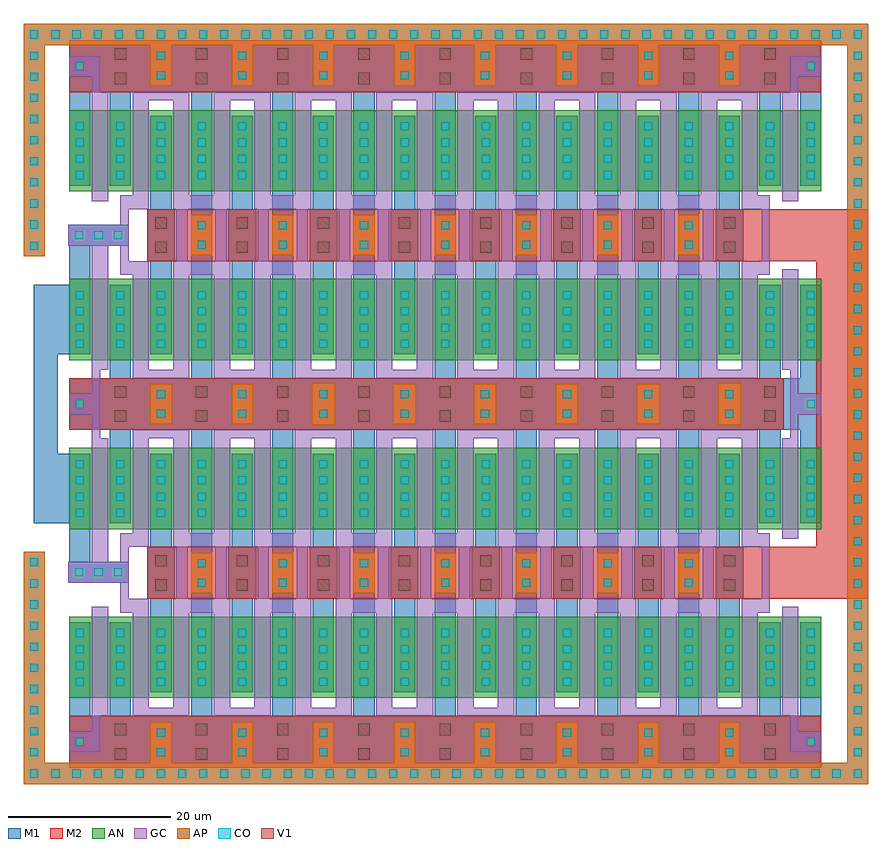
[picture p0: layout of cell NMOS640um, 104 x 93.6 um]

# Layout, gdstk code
import gdstk
lib = gdstk.Library(unit=1e-6, precision=1e-09)
def R(c, l, rs):  # rectangles x0, y0, x1, y1
    for r in rs: c.add(gdstk.rectangle(r[:2], r[2:], *l))
def A(c, l, x, y, w, h, nx, ny, dx, dy):  # array of equal rectangles
    R(c, l, [(x+i*dx, y+j*dy, x+i*dx+w, y+j*dy+h) for i in range(nx) for j in range(ny)])
AP = (3, 1)
AN = (3, 2)
GC = (8, 1)
CO = (11, 0)
M1 = (13, 0)
V1 = (19, 0)
M2 = (20, 0)

via_1_4 = lib.new_cell('via_1$4')
R(via_1_4, M1, [(-1.7,-1.7,1.7,1.7)])
R(via_1_4, V1, [(-0.7,-0.7,0.7,0.7)])
R(via_1_4, M2, [(-1.7,-1.7,1.7,1.7)])

cont_p = lib.new_cell('cont_p')
R(cont_p, AP, [(-1.3,-1.3,1.3,1.3)])
R(cont_p, CO, [(-0.5,-0.5,0.5,0.5)])
R(cont_p, M1, [(-1.3,-1.3,1.3,1.3)])

via_1_1 = lib.new_cell('via_1$1')
R(via_1_1, M1, [(-1.7,-1.7,1.7,1.7)])
R(via_1_1, V1, [(-0.7,-0.7,0.7,0.7)])
R(via_1_1, M2, [(-1.7,-1.7,1.7,1.7)])

fet_n_3 = lib.new_cell('fet_n$3')
R(fet_n_3, AN, [(-3.8,-5,3.8,5)])
A(fet_n_3, CO, -3, -3.5, 1, 1, 1, 4, 0, 2)
A(fet_n_3, CO, 2, -3.5, 1, 1, 1, 4, 0, 2)
R(fet_n_3, M1, [(-3.8,-4.3,-1.2,4.3), (1.2,-4.3,3.8,4.3)])
fet_n_3.add(gdstk.FlexPath([(0,-6.2),(0,6.2)], 2, ends="flush", simple_path=True, layer=8, datatype=1))  # GC

fet_n = lib.new_cell('fet_n')
R(fet_n, AN, [(-41.3,-5,41.3,5)])
A(fet_n, CO, -40.5, -3.5, 1, 1, 17, 4, 5, 2)
A(fet_n, M1, -41.3, -4.3, 2.6, 8.6, 17, 1, 5, 0)
fet_n.add(gdstk.FlexPath([(2.5,-6.2),(2.5,6.2)], 2, ends="flush", simple_path=True, layer=8, datatype=1))  # GC
fet_n.add(gdstk.FlexPath([(-2.5,-6.2),(-2.5,6.2)], 2, ends="flush", simple_path=True, layer=8, datatype=1))  # GC
fet_n.add(gdstk.FlexPath([(7.5,-6.2),(7.5,6.2)], 2, ends="flush", simple_path=True, layer=8, datatype=1))  # GC
fet_n.add(gdstk.FlexPath([(-7.5,-6.2),(-7.5,6.2)], 2, ends="flush", simple_path=True, layer=8, datatype=1))  # GC
fet_n.add(gdstk.FlexPath([(12.5,-6.2),(12.5,6.2)], 2, ends="flush", simple_path=True, layer=8, datatype=1))  # GC
fet_n.add(gdstk.FlexPath([(-12.5,-6.2),(-12.5,6.2)], 2, ends="flush", simple_path=True, layer=8, datatype=1))  # GC
fet_n.add(gdstk.FlexPath([(17.5,-6.2),(17.5,6.2)], 2, ends="flush", simple_path=True, layer=8, datatype=1))  # GC
fet_n.add(gdstk.FlexPath([(-17.5,-6.2),(-17.5,6.2)], 2, ends="flush", simple_path=True, layer=8, datatype=1))  # GC
fet_n.add(gdstk.FlexPath([(22.5,-6.2),(22.5,6.2)], 2, ends="flush", simple_path=True, layer=8, datatype=1))  # GC
fet_n.add(gdstk.FlexPath([(-22.5,-6.2),(-22.5,6.2)], 2, ends="flush", simple_path=True, layer=8, datatype=1))  # GC
fet_n.add(gdstk.FlexPath([(27.5,-6.2),(27.5,6.2)], 2, ends="flush", simple_path=True, layer=8, datatype=1))  # GC
fet_n.add(gdstk.FlexPath([(-27.5,-6.2),(-27.5,6.2)], 2, ends="flush", simple_path=True, layer=8, datatype=1))  # GC
fet_n.add(gdstk.FlexPath([(32.5,-6.2),(32.5,6.2)], 2, ends="flush", simple_path=True, layer=8, datatype=1))  # GC
fet_n.add(gdstk.FlexPath([(-32.5,-6.2),(-32.5,6.2)], 2, ends="flush", simple_path=True, layer=8, datatype=1))  # GC
fet_n.add(gdstk.FlexPath([(37.5,-6.2),(37.5,6.2)], 2, ends="flush", simple_path=True, layer=8, datatype=1))  # GC
fet_n.add(gdstk.FlexPath([(-37.5,-6.2),(-37.5,6.2)], 2, ends="flush", simple_path=True, layer=8, datatype=1))  # GC

nmos320um = lib.new_cell('NMOS320um')
A(nmos320um, GC, -38.5, -17.6, 7, 1, 8, 2, 10, 34.2)
A(nmos320um, GC, -33.5, -4.9, 7, 1.7, 7, 2, 10, 8.1)
R(nmos320um, GC, [(-40,-4.9,-36.5,-3.2), (36.5,-4.9,40,-3.2), (-40,3.2,-36.5,4.9), (36.5,3.2,40,4.9)])
nmos320um.add(gdstk.FlexPath([(-39.5,-3.2),(-39.5,3.2)], 1, ends="flush", simple_path=True, layer=8, datatype=1))  # GC
nmos320um.add(gdstk.FlexPath([(39.5,-3.2),(39.5,3.2)], 1, ends="flush", simple_path=True, layer=8, datatype=1))  # GC
nmos320um.add(gdstk.FlexPath([(17.6,-3.2),(17.6,3.2),(17.6,3.2)], 1.4, ends="flush", simple_path=True, layer=8, datatype=1))  # GC
nmos320um.add(gdstk.FlexPath([(22.4,-3.2),(22.4,3.2),(22.4,3.2)], 1.4, ends="flush", simple_path=True, layer=8, datatype=1))  # GC
nmos320um.add(gdstk.FlexPath([(7.6,-3.2),(7.6,3.2),(7.6,3.2)], 1.4, ends="flush", simple_path=True, layer=8, datatype=1))  # GC
nmos320um.add(gdstk.FlexPath([(12.4,-3.2),(12.4,3.2),(12.4,3.2)], 1.4, ends="flush", simple_path=True, layer=8, datatype=1))  # GC
nmos320um.add(gdstk.FlexPath([(27.6,-3.2),(27.6,3.2),(27.6,3.2)], 1.4, ends="flush", simple_path=True, layer=8, datatype=1))  # GC
nmos320um.add(gdstk.FlexPath([(32.4,-3.2),(32.4,3.2),(32.4,3.2)], 1.4, ends="flush", simple_path=True, layer=8, datatype=1))  # GC
nmos320um.add(gdstk.FlexPath([(-2.4,-3.2),(-2.4,3.2),(-2.4,3.2)], 1.4, ends="flush", simple_path=True, layer=8, datatype=1))  # GC
nmos320um.add(gdstk.FlexPath([(2.4,-3.2),(2.4,3.2),(2.4,3.2)], 1.4, ends="flush", simple_path=True, layer=8, datatype=1))  # GC
nmos320um.add(gdstk.FlexPath([(-12.4,-3.2),(-12.4,3.2),(-12.4,3.2)], 1.4, ends="flush", simple_path=True, layer=8, datatype=1))  # GC
nmos320um.add(gdstk.FlexPath([(-7.6,-3.2),(-7.6,3.2),(-7.6,3.2)], 1.4, ends="flush", simple_path=True, layer=8, datatype=1))  # GC
nmos320um.add(gdstk.FlexPath([(-22.4,-3.2),(-22.4,3.2),(-22.4,3.2)], 1.4, ends="flush", simple_path=True, layer=8, datatype=1))  # GC
nmos320um.add(gdstk.FlexPath([(-17.6,-3.2),(-17.6,3.2),(-17.6,3.2)], 1.4, ends="flush", simple_path=True, layer=8, datatype=1))  # GC
nmos320um.add(gdstk.FlexPath([(-32.4,-3.2),(-32.4,3.2),(-32.4,3.2)], 1.4, ends="flush", simple_path=True, layer=8, datatype=1))  # GC
nmos320um.add(gdstk.FlexPath([(-27.6,-3.2),(-27.6,3.2),(-27.6,3.2)], 1.4, ends="flush", simple_path=True, layer=8, datatype=1))  # GC
nmos320um.add(gdstk.FlexPath([(45,14.7),(45,18.5)], 2.6, ends="flush", simple_path=True, layer=13, datatype=0))  # M1
nmos320um.add(gdstk.FlexPath([(40,18.5),(40,14.7)], 2.6, ends="flush", simple_path=True, layer=13, datatype=0))  # M1
nmos320um.add(gdstk.FlexPath([(-10,-17.6),(-10,-14.7)], 2.6, ends="flush", simple_path=True, layer=13, datatype=0))  # M1
nmos320um.add(gdstk.FlexPath([(-30,-17.6),(-30,-14.7)], 2.6, ends="flush", simple_path=True, layer=13, datatype=0))  # M1
nmos320um.add(gdstk.FlexPath([(-20,-17.6),(-20,-14.7)], 2.6, ends="flush", simple_path=True, layer=13, datatype=0))  # M1
nmos320um.add(gdstk.FlexPath([(-40,-17.6),(-40,-14.7)], 2.6, ends="flush", simple_path=True, layer=13, datatype=0))  # M1
nmos320um.add(gdstk.FlexPath([(0,-17.6),(0,-14.7)], 2.6, ends="flush", simple_path=True, layer=13, datatype=0))  # M1
nmos320um.add(gdstk.FlexPath([(20,-17.6),(20,-14.7)], 2.6, ends="flush", simple_path=True, layer=13, datatype=0))  # M1
nmos320um.add(gdstk.FlexPath([(30,-17.6),(30,-14.7)], 2.6, ends="flush", simple_path=True, layer=13, datatype=0))  # M1
nmos320um.add(gdstk.FlexPath([(10,-17.6),(10,-14.7)], 2.6, ends="flush", simple_path=True, layer=13, datatype=0))  # M1
nmos320um.add(gdstk.FlexPath([(30,-6.1),(30,-2.5),(30,-2.5)], 2.6, ends="flush", simple_path=True, layer=13, datatype=0))  # M1
nmos320um.add(gdstk.FlexPath([(30,2.5),(30,6.1)], 2.6, ends="flush", simple_path=True, layer=13, datatype=0))  # M1
nmos320um.add(gdstk.FlexPath([(20,-6.1),(20,-2.5),(20,-2.5)], 2.6, ends="flush", simple_path=True, layer=13, datatype=0))  # M1
nmos320um.add(gdstk.FlexPath([(20,2.5),(20,6.1)], 2.6, ends="flush", simple_path=True, layer=13, datatype=0))  # M1
nmos320um.add(gdstk.FlexPath([(10,-6.1),(10,-2.5),(10,-2.5)], 2.6, ends="flush", simple_path=True, layer=13, datatype=0))  # M1
nmos320um.add(gdstk.FlexPath([(10,2.5),(10,6.1)], 2.6, ends="flush", simple_path=True, layer=13, datatype=0))  # M1
nmos320um.add(gdstk.FlexPath([(0,-6.1),(0,-2.5),(0,-2.5)], 2.6, ends="flush", simple_path=True, layer=13, datatype=0))  # M1
nmos320um.add(gdstk.FlexPath([(0,2.5),(0,6.1)], 2.6, ends="flush", simple_path=True, layer=13, datatype=0))  # M1
nmos320um.add(gdstk.FlexPath([(-10,-6.1),(-10,-2.5),(-10,-2.5)], 2.6, ends="flush", simple_path=True, layer=13, datatype=0))  # M1
nmos320um.add(gdstk.FlexPath([(-10,2.5),(-10,6.1)], 2.6, ends="flush", simple_path=True, layer=13, datatype=0))  # M1
nmos320um.add(gdstk.FlexPath([(-20,-6.1),(-20,-2.5),(-20,-2.5)], 2.6, ends="flush", simple_path=True, layer=13, datatype=0))  # M1
nmos320um.add(gdstk.FlexPath([(-20,2.5),(-20,6.1)], 2.6, ends="flush", simple_path=True, layer=13, datatype=0))  # M1
nmos320um.add(gdstk.FlexPath([(-30,-6.1),(-30,-2.5),(-30,-2.5)], 2.6, ends="flush", simple_path=True, layer=13, datatype=0))  # M1
nmos320um.add(gdstk.FlexPath([(-30,2.5),(-30,6.1)], 2.6, ends="flush", simple_path=True, layer=13, datatype=0))  # M1
nmos320um.add(gdstk.FlexPath([(-40,18.5),(-40,14.7)], 2.6, ends="flush", simple_path=True, layer=13, datatype=0))  # M1
nmos320um.add(gdstk.FlexPath([(-45,18.5),(-45,14.7)], 2.6, ends="flush", simple_path=True, layer=13, datatype=0))  # M1
nmos320um.add(gdstk.FlexPath([(-30,14.7),(-30,18.5)], 2.6, ends="flush", simple_path=True, layer=13, datatype=0))  # M1
nmos320um.add(gdstk.FlexPath([(-20,18.5),(-20,14.7)], 2.6, ends="flush", simple_path=True, layer=13, datatype=0))  # M1
nmos320um.add(gdstk.FlexPath([(-10,18.5),(-10,14.7)], 2.6, ends="flush", simple_path=True, layer=13, datatype=0))  # M1
nmos320um.add(gdstk.FlexPath([(0,14.7),(0,18.5)], 2.6, ends="flush", simple_path=True, layer=13, datatype=0))  # M1
nmos320um.add(gdstk.FlexPath([(10,18.5),(10,14.7)], 2.6, ends="flush", simple_path=True, layer=13, datatype=0))  # M1
nmos320um.add(gdstk.FlexPath([(20,14.7),(20,18.5)], 2.6, ends="flush", simple_path=True, layer=13, datatype=0))  # M1
nmos320um.add(gdstk.FlexPath([(30,18.5),(30,14.7)], 2.6, ends="flush", simple_path=True, layer=13, datatype=0))  # M1
nmos320um.add(gdstk.FlexPath([(45,-17.6),(45,-14.7)], 2.6, ends="flush", simple_path=True, layer=13, datatype=0))  # M1
nmos320um.add(gdstk.FlexPath([(40,-17.6),(40,-14.7)], 2.6, ends="flush", simple_path=True, layer=13, datatype=0))  # M1
nmos320um.add(gdstk.FlexPath([(35,-6.1),(35,-3.2)], 2.6, ends="flush", simple_path=True, layer=13, datatype=0))  # M1
nmos320um.add(gdstk.FlexPath([(35,3.2),(35,6.1)], 2.6, ends="flush", simple_path=True, layer=13, datatype=0))  # M1
nmos320um.add(gdstk.FlexPath([(25,-6.1),(25,-3.2)], 2.6, ends="flush", simple_path=True, layer=13, datatype=0))  # M1
nmos320um.add(gdstk.FlexPath([(25,3.2),(25,6.1)], 2.6, ends="flush", simple_path=True, layer=13, datatype=0))  # M1
nmos320um.add(gdstk.FlexPath([(15,-6.1),(15,-3.2)], 2.6, ends="flush", simple_path=True, layer=13, datatype=0))  # M1
nmos320um.add(gdstk.FlexPath([(15,3.2),(15,6.1)], 2.6, ends="flush", simple_path=True, layer=13, datatype=0))  # M1
nmos320um.add(gdstk.FlexPath([(5,-6.1),(5,-3.2)], 2.6, ends="flush", simple_path=True, layer=13, datatype=0))  # M1
nmos320um.add(gdstk.FlexPath([(5,3.2),(5,6.1)], 2.6, ends="flush", simple_path=True, layer=13, datatype=0))  # M1
nmos320um.add(gdstk.FlexPath([(-5,-6.1),(-5,-3.2)], 2.6, ends="flush", simple_path=True, layer=13, datatype=0))  # M1
nmos320um.add(gdstk.FlexPath([(-5,3.2),(-5,6.1)], 2.6, ends="flush", simple_path=True, layer=13, datatype=0))  # M1
nmos320um.add(gdstk.FlexPath([(-15,-6.1),(-15,-3.2)], 2.6, ends="flush", simple_path=True, layer=13, datatype=0))  # M1
nmos320um.add(gdstk.FlexPath([(-15,3.2),(-15,6.1)], 2.6, ends="flush", simple_path=True, layer=13, datatype=0))  # M1
nmos320um.add(gdstk.FlexPath([(-25,3.2),(-25,6.1)], 2.6, ends="flush", simple_path=True, layer=13, datatype=0))  # M1
nmos320um.add(gdstk.FlexPath([(-25,-6.1),(-25,-3.2)], 2.6, ends="flush", simple_path=True, layer=13, datatype=0))  # M1
nmos320um.add(gdstk.FlexPath([(-35,-6.1),(-35,-3.2)], 2.6, ends="flush", simple_path=True, layer=13, datatype=0))  # M1
nmos320um.add(gdstk.FlexPath([(-35,3.2),(-35,6.1)], 2.6, ends="flush", simple_path=True, layer=13, datatype=0))  # M1
nmos320um.add(gdstk.FlexPath([(-36.7,0),(36.7,0),(36.7,0)], 6.4, ends="flush", simple_path=True, layer=20, datatype=0))  # M2
r = gdstk.Reference(cont_p, (30,-1.2)); r.repetition = gdstk.Repetition(1, 2, v1=(0,0), v2=(0,2.4)); nmos320um.add(r)
r = gdstk.Reference(via_1_1, (-35,1.5), x_reflection=True); r.repetition = gdstk.Repetition(8, 2, v1=(10,0), v2=(0,-3)); nmos320um.add(r)
r = gdstk.Reference(cont_p, (20,-1.2)); r.repetition = gdstk.Repetition(1, 2, v1=(0,0), v2=(0,2.4)); nmos320um.add(r)
r = gdstk.Reference(cont_p, (10,-1.2)); r.repetition = gdstk.Repetition(1, 2, v1=(0,0), v2=(0,2.4)); nmos320um.add(r)
r = gdstk.Reference(cont_p, (0,-1.2)); r.repetition = gdstk.Repetition(1, 2, v1=(0,0), v2=(0,2.4)); nmos320um.add(r)
r = gdstk.Reference(cont_p, (-10,-1.2)); r.repetition = gdstk.Repetition(1, 2, v1=(0,0), v2=(0,2.4)); nmos320um.add(r)
r = gdstk.Reference(cont_p, (-20,-1.2)); r.repetition = gdstk.Repetition(1, 2, v1=(0,0), v2=(0,2.4)); nmos320um.add(r)
r = gdstk.Reference(cont_p, (-30,-1.2)); r.repetition = gdstk.Repetition(1, 2, v1=(0,0), v2=(0,2.4)); nmos320um.add(r)
nmos320um.add(gdstk.Reference(fet_n_3, (-42.5,-10.4), x_reflection=True))
nmos320um.add(gdstk.Reference(fet_n_3, (-42.5,10.4)))
nmos320um.add(gdstk.Reference(fet_n, (0,10.4)))
nmos320um.add(gdstk.Reference(fet_n_3, (42.5,-10.4), x_reflection=True))
nmos320um.add(gdstk.Reference(fet_n_3, (42.5,10.4)))
nmos320um.add(gdstk.Reference(fet_n, (0,-10.4), x_reflection=True))

cont_g_2 = lib.new_cell('cont_g$2')
R(cont_g_2, GC, [(-1.3,-1.3,1.3,1.3)])
R(cont_g_2, CO, [(-0.5,-0.5,0.5,0.5)])
R(cont_g_2, M1, [(-1.3,-1.3,1.3,1.3)])

cont_p_2_1 = lib.new_cell('cont_p$2$1')
R(cont_p_2_1, AP, [(-1.4,-1.3,1.4,1.3)])
R(cont_p_2_1, CO, [(-0.5,-0.5,0.5,0.5)])
R(cont_p_2_1, M1, [(-1.3,-1.3,1.3,1.3)])

cont_p_1_1 = lib.new_cell('cont_p$1$1')
R(cont_p_1_1, AP, [(-1.4,-1.4,1.4,1.4)])
R(cont_p_1_1, CO, [(-0.5,-0.5,0.5,0.5)])
R(cont_p_1_1, M1, [(-1.3,-1.3,1.3,1.3)])

cont_p_3 = lib.new_cell('cont_p$3')
R(cont_p_3, AP, [(-1.3,-1.3,1.3,1.3)])
R(cont_p_3, CO, [(-0.5,-0.5,0.5,0.5)])
R(cont_p_3, M1, [(-1.3,-1.3,1.3,1.3)])

nmos640um = lib.new_cell('NMOS640um')
A(nmos640um, GC, 8.2, 3.9, 0.2, 2.6, 1, 3, 0, 41.6)
A(nmos640um, GC, 95.4, 3.9, 0.2, 2.6, 1, 3, 0, 41.6)
R(nmos640um, GC, [(8.4,3.9,9.4,9.4), (94.4,3.9,95.4,9.4), (9.4,8.4,10.4,9.4), (93.4,8.4,94.4,9.4), (8.4,42.6,9.4,51), (94.4,42.6,95.4,51), (8.4,84.2,9.4,89.7), (9.4,84.2,10.4,85.2), (93.4,84.2,94.4,85.2), (94.4,84.2,95.4,89.7)])
A(nmos640um, M1, 5.6, 2, 4.6, 6.4, 1, 3, 0, 41.6)
A(nmos640um, M1, 93.6, 2, 4.6, 6.4, 1, 3, 0, 41.6)
R(nmos640um, M1, [(4.2,32.1,5.6,40.7), (4.2,52.9,5.6,61.5)])
nmos640um.add(gdstk.FlexPath([(9.4,30.2),(9.4,27.4)], 2, ends="flush", simple_path=True, layer=8, datatype=1))  # GC
nmos640um.add(gdstk.FlexPath([(9.4,63.4),(9.4,66.3)], 2, ends="flush", simple_path=True, layer=8, datatype=1))  # GC
nmos640um.add(gdstk.FlexPath([(6.9,61.5),(6.9,66.3)], 2.6, ends="flush", simple_path=True, layer=13, datatype=0))  # M1
nmos640um.add(gdstk.FlexPath([(6.9,32.1),(6.9,27.4)], 2.6, ends="flush", simple_path=True, layer=13, datatype=0))  # M1
nmos640um.add(gdstk.FlexPath([(10.2,46.8),(93.6,46.8)], 6.4, ends="flush", simple_path=True, layer=13, datatype=0))  # M1
nmos640um.add(gdstk.FlexPath([(10.2,88.4),(93.6,88.4)], 6.4, ends="flush", simple_path=True, layer=13, datatype=0))  # M1
nmos640um.add(gdstk.FlexPath([(10.2,5.2),(93.6,5.2)], 6.4, ends="flush", simple_path=True, layer=13, datatype=0))  # M1
nmos640um.add(gdstk.FlexPath([(2.7,32.1),(2.7,61.5)], 3, ends="flush", simple_path=True, layer=13, datatype=0))  # M1
nmos640um.add(gdstk.FlexPath([(88.6,67.6),(104,67.6)], 6.4, ends="flush", simple_path=True, layer=20, datatype=0))  # M2
nmos640um.add(gdstk.FlexPath([(88.6,26),(104,26)], 6.4, ends="flush", simple_path=True, layer=20, datatype=0))  # M2
nmos640um.add(gdstk.FlexPath([(5.6,88.4),(98.2,88.4)], 6.4, ends="flush", simple_path=True, layer=20, datatype=0))  # M2
nmos640um.add(gdstk.FlexPath([(5.6,5.2),(98.2,5.2)], 6.4, ends="flush", simple_path=True, layer=20, datatype=0))  # M2
nmos640um.add(gdstk.FlexPath([(100.8,22.8),(100.8,70.8)], 6.4, ends="flush", simple_path=True, layer=20, datatype=0))  # M2
nmos640um.add(gdstk.FlexPath([(5.6,46.8),(93.6,46.8),(93.6,46.8)], 6.4, ends="flush", simple_path=True, layer=20, datatype=0))  # M2
r = gdstk.Reference(via_1_4, (11.9,48.3), x_reflection=True); r.repetition = gdstk.Repetition(9, 2, v1=(10,0), v2=(0,-3)); nmos640um.add(r)
nmos640um.add(gdstk.Reference(nmos320um, (51.9,67.6)))
r = gdstk.Reference(cont_g_2, (6.8,67.6)); r.repetition = gdstk.Repetition(3, 1, v1=(2.4,0), v2=(0,0)); nmos640um.add(r)
nmos640um.add(gdstk.Reference(nmos320um, (51.9,26), x_reflection=True))
r = gdstk.Reference(cont_g_2, (6.8,26.1)); r.repetition = gdstk.Repetition(3, 1, v1=(2.4,0), v2=(0,0)); nmos640um.add(r)
r = gdstk.Reference(cont_p, (26.9,45.6)); r.repetition = gdstk.Repetition(1, 2, v1=(0,0), v2=(0,2.4)); nmos640um.add(r)
r = gdstk.Reference(cont_p_2_1, (16.9,45.6)); r.repetition = gdstk.Repetition(1, 2, v1=(0,0), v2=(0,2.4)); nmos640um.add(r)
r = gdstk.Reference(cont_p_2_1, (46.9,45.6)); r.repetition = gdstk.Repetition(1, 2, v1=(0,0), v2=(0,2.4)); nmos640um.add(r)
r = gdstk.Reference(cont_p_2_1, (56.8,45.6)); r.repetition = gdstk.Repetition(1, 2, v1=(0,0), v2=(0,2.4)); nmos640um.add(r)
r = gdstk.Reference(cont_p_2_1, (66.9,45.6)); r.repetition = gdstk.Repetition(1, 2, v1=(0,0), v2=(0,2.4)); nmos640um.add(r)
r = gdstk.Reference(cont_p_2_1, (76.9,45.6)); r.repetition = gdstk.Repetition(1, 2, v1=(0,0), v2=(0,2.4)); nmos640um.add(r)
r = gdstk.Reference(cont_p_1_1, (86.9,45.6)); r.repetition = gdstk.Repetition(1, 2, v1=(0,0), v2=(0,2.4)); nmos640um.add(r)
r = gdstk.Reference(cont_p_1_1, (36.9,45.6)); r.repetition = gdstk.Repetition(1, 2, v1=(0,0), v2=(0,2.4)); nmos640um.add(r)
nmos640um.add(gdstk.Reference(cont_g_2, (6.9,46.8)))
r = gdstk.Reference(via_1_4, (11.9,89.9), x_reflection=True); r.repetition = gdstk.Repetition(9, 2, v1=(10,0), v2=(0,-3)); nmos640um.add(r)
r = gdstk.Reference(cont_p, (36.9,87.3)); r.repetition = gdstk.Repetition(1, 2, v1=(0,0), v2=(0,2.4)); nmos640um.add(r)
r = gdstk.Reference(cont_p, (26.9,87.3)); r.repetition = gdstk.Repetition(1, 2, v1=(0,0), v2=(0,2.4)); nmos640um.add(r)
r = gdstk.Reference(cont_p, (16.9,87.3)); r.repetition = gdstk.Repetition(1, 2, v1=(0,0), v2=(0,2.4)); nmos640um.add(r)
r = gdstk.Reference(cont_p, (46.9,87.3)); r.repetition = gdstk.Repetition(1, 2, v1=(0,0), v2=(0,2.4)); nmos640um.add(r)
r = gdstk.Reference(cont_p, (56.8,87.3)); r.repetition = gdstk.Repetition(1, 2, v1=(0,0), v2=(0,2.4)); nmos640um.add(r)
r = gdstk.Reference(cont_p, (66.9,87.3)); r.repetition = gdstk.Repetition(1, 2, v1=(0,0), v2=(0,2.4)); nmos640um.add(r)
r = gdstk.Reference(cont_p, (76.9,87.3)); r.repetition = gdstk.Repetition(1, 2, v1=(0,0), v2=(0,2.4)); nmos640um.add(r)
r = gdstk.Reference(cont_p, (86.9,87.3)); r.repetition = gdstk.Repetition(1, 2, v1=(0,0), v2=(0,2.4)); nmos640um.add(r)
nmos640um.add(gdstk.Reference(cont_g_2, (6.9,88.4)))
nmos640um.add(gdstk.Reference(cont_g_2, (96.9,46.8)))
nmos640um.add(gdstk.Reference(cont_g_2, (96.9,88.4), x_reflection=True))
r = gdstk.Reference(via_1_4, (11.9,6.7), x_reflection=True); r.repetition = gdstk.Repetition(9, 2, v1=(10,0), v2=(0,-3)); nmos640um.add(r)
r = gdstk.Reference(cont_p, (36.9,3.9)); r.repetition = gdstk.Repetition(1, 2, v1=(0,0), v2=(0,2.4)); nmos640um.add(r)
r = gdstk.Reference(cont_p, (26.9,3.9)); r.repetition = gdstk.Repetition(1, 2, v1=(0,0), v2=(0,2.4)); nmos640um.add(r)
r = gdstk.Reference(cont_p, (16.9,3.9)); r.repetition = gdstk.Repetition(1, 2, v1=(0,0), v2=(0,2.4)); nmos640um.add(r)
r = gdstk.Reference(cont_p, (46.9,3.9)); r.repetition = gdstk.Repetition(1, 2, v1=(0,0), v2=(0,2.4)); nmos640um.add(r)
r = gdstk.Reference(cont_p, (56.8,3.9)); r.repetition = gdstk.Repetition(1, 2, v1=(0,0), v2=(0,2.4)); nmos640um.add(r)
r = gdstk.Reference(cont_p, (66.9,3.9)); r.repetition = gdstk.Repetition(1, 2, v1=(0,0), v2=(0,2.4)); nmos640um.add(r)
r = gdstk.Reference(cont_p, (76.9,3.9)); r.repetition = gdstk.Repetition(1, 2, v1=(0,0), v2=(0,2.4)); nmos640um.add(r)
r = gdstk.Reference(cont_p, (86.9,3.9)); r.repetition = gdstk.Repetition(1, 2, v1=(0,0), v2=(0,2.4)); nmos640um.add(r)
nmos640um.add(gdstk.Reference(cont_g_2, (6.9,5.2)))
nmos640um.add(gdstk.Reference(cont_g_2, (96.9,5.2)))
r = gdstk.Reference(cont_p_3, (1.3,1.3)); r.repetition = gdstk.Repetition(1, 11, v1=(0,0), v2=(0,2.6)); nmos640um.add(r)
r = gdstk.Reference(cont_p_3, (1.3,92.3)); r.repetition = gdstk.Repetition(40, 1, v1=(2.6,0), v2=(0,0)); nmos640um.add(r)
r = gdstk.Reference(cont_p_3, (1.3,1.3)); r.repetition = gdstk.Repetition(40, 1, v1=(2.6,0), v2=(0,0)); nmos640um.add(r)
r = gdstk.Reference(cont_p_3, (102.7,1.3)); r.repetition = gdstk.Repetition(1, 36, v1=(0,0), v2=(0,2.6)); nmos640um.add(r)
r = gdstk.Reference(cont_p_3, (1.3,92.3), x_reflection=True); r.repetition = gdstk.Repetition(1, 11, v1=(0,0), v2=(0,-2.6)); nmos640um.add(r)

lib.write_gds('NMOS640um.gds')
